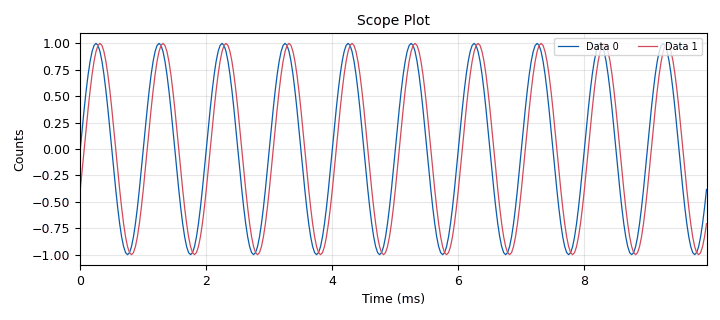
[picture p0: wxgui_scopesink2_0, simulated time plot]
<?xml version='1.0' encoding='utf-8'?>
<?grc format='1' created='3.7.10'?>
<flow_graph>
<block>
<key>options</key>
<param><key>id</key><value>delay_example</value></param>
<param><key>author</key><value>Alexandros-Apostolos A. Boulogeorgos</value></param>
<param><key>generate_options</key><value>wx_gui</value></param>
<param><key>title</key><value>Delay Example</value></param>
</block>
<block>
<key>variable_slider</key>
<param><key>id</key><value>constant</value></param>
<param><key>converver</key><value>float_converter</value></param>
<param><key>value</key><value>1</value></param>
<param><key>label</key><value>Delayed multiply constant</value></param>
<param><key>max</key><value>1</value></param>
<param><key>min</key><value>0</value></param>
<param><key>num_steps</key><value>100</value></param>
<param><key>style</key><value>wx.SL_HORIZONTAL</value></param>
</block>
<block>
<key>variable_slider</key>
<param><key>id</key><value>delay</value></param>
<param><key>converver</key><value>float_converter</value></param>
<param><key>value</key><value>2</value></param>
<param><key>label</key><value>delay</value></param>
<param><key>max</key><value>100</value></param>
<param><key>min</key><value>0</value></param>
<param><key>num_steps</key><value>100</value></param>
<param><key>style</key><value>wx.SL_HORIZONTAL</value></param>
</block>
<block>
<key>variable</key>
<param><key>id</key><value>f0</value></param>
<param><key>value</key><value>1000</value></param>
</block>
<block>
<key>variable</key>
<param><key>id</key><value>samp_rate</value></param>
<param><key>value</key><value>32000</value></param>
</block>
<block>
<key>analog_sig_source_x</key>
<param><key>id</key><value>analog_sig_source_x_0</value></param>
<param><key>amp</key><value>1</value></param>
<param><key>freq</key><value>f0</value></param>
<param><key>offset</key><value>0</value></param>
<param><key>type</key><value>float</value></param>
<param><key>samp_rate</key><value>samp_rate</value></param>
<param><key>waveform</key><value>analog.GR_COS_WAVE</value></param>
</block>
<block>
<key>blocks_delay</key>
<param><key>id</key><value>blocks_delay_0</value></param>
<param><key>delay</key><value>delay</value></param>
<param><key>type</key><value>float</value></param>
</block>
<block>
<key>blocks_multiply_const_vxx</key>
<param><key>id</key><value>blocks_multiply_const_vxx_0</value></param>
<param><key>const</key><value>constant</value></param>
<param><key>type</key><value>float</value></param>
</block>
<block>
<key>blocks_throttle</key>
<param><key>id</key><value>blocks_throttle_0</value></param>
<param><key>samples_per_second</key><value>samp_rate</value></param>
<param><key>type</key><value>float</value></param>
</block>
<block>
<key>wxgui_scopesink2</key>
<param><key>id</key><value>wxgui_scopesink2_0</value></param>
<param><key>ac_couple</key><value>False</value></param>
<param><key>num_inputs</key><value>2</value></param>
<param><key>samp_rate</key><value>samp_rate</value></param>
<param><key>t_scale</key><value>0</value></param>
<param><key>title</key><value>Scope Plot</value></param>
<param><key>trig_mode</key><value>wxgui.TRIG_MODE_AUTO</value></param>
<param><key>type</key><value>float</value></param>
<param><key>v_offset</key><value>0</value></param>
<param><key>v_scale</key><value>0</value></param>
<param><key>xy_mode</key><value>False</value></param>
<param><key>y_axis_label</key><value>Counts</value></param>
</block>
<connection><source_block_id>analog_sig_source_x_0</source_block_id><sink_block_id>blocks_throttle_0</sink_block_id><source_key>0</source_key><sink_key>0</sink_key></connection>
<connection><source_block_id>blocks_delay_0</source_block_id><sink_block_id>blocks_multiply_const_vxx_0</sink_block_id><source_key>0</source_key><sink_key>0</sink_key></connection>
<connection><source_block_id>blocks_multiply_const_vxx_0</source_block_id><sink_block_id>wxgui_scopesink2_0</sink_block_id><source_key>0</source_key><sink_key>1</sink_key></connection>
<connection><source_block_id>blocks_throttle_0</source_block_id><sink_block_id>blocks_delay_0</sink_block_id><source_key>0</source_key><sink_key>0</sink_key></connection>
<connection><source_block_id>blocks_throttle_0</source_block_id><sink_block_id>wxgui_scopesink2_0</sink_block_id><source_key>0</source_key><sink_key>0</sink_key></connection>
</flow_graph>
